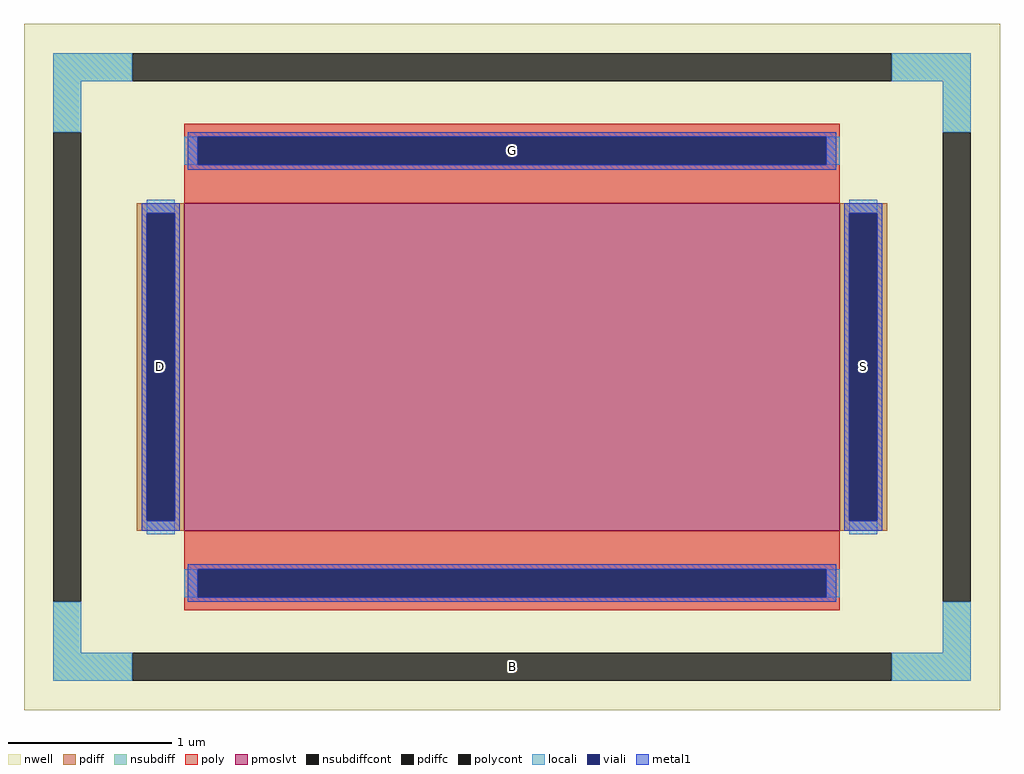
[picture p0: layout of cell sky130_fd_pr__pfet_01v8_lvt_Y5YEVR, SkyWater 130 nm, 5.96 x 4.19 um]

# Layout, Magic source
magic
tech sky130A
magscale 1 2
<< nwell >>
rect -596 -419 596 419
<< pmoslvt >>
rect -400 -200 400 200
<< pdiff >>
rect -458 188 -400 200
rect -458 -188 -446 188
rect -412 -188 -400 188
rect -458 -200 -400 -188
rect 400 188 458 200
rect 400 -188 412 188
rect 446 -188 458 188
rect 400 -200 458 -188
<< pdiffc >>
rect -446 -188 -412 188
rect 412 -188 446 188
<< nsubdiff >>
rect -560 349 -464 383
rect 464 349 560 383
rect -560 287 -526 349
rect 526 287 560 349
rect -560 -349 -526 -287
rect 526 -349 560 -287
rect -560 -383 -464 -349
rect 464 -383 560 -349
<< nsubdiffcont >>
rect -464 349 464 383
rect -560 -287 -526 287
rect 526 -287 560 287
rect -464 -383 464 -349
<< poly >>
rect -400 281 400 297
rect -400 247 -384 281
rect 384 247 400 281
rect -400 200 400 247
rect -400 -247 400 -200
rect -400 -281 -384 -247
rect 384 -281 400 -247
rect -400 -297 400 -281
<< polycont >>
rect -384 247 384 281
rect -384 -281 384 -247
<< locali >>
rect -560 349 -464 383
rect 464 349 560 383
rect -560 287 -526 349
rect 526 287 560 349
rect -400 247 -384 281
rect 384 247 400 281
rect -446 188 -412 204
rect -446 -204 -412 -188
rect 412 188 446 204
rect 412 -204 446 -188
rect -400 -281 -384 -247
rect 384 -281 400 -247
rect -560 -349 -526 -287
rect 526 -349 560 -287
rect -560 -383 -464 -349
rect 464 -383 560 -349
<< viali >>
rect -384 247 384 281
rect -446 -188 -412 188
rect 412 -188 446 188
rect -384 -281 384 -247
<< metal1 >>
rect -396 281 396 287
rect -396 247 -384 281
rect 384 247 396 281
rect -396 241 396 247
rect -452 188 -406 200
rect -452 -188 -446 188
rect -412 -188 -406 188
rect -452 -200 -406 -188
rect 406 188 452 200
rect 406 -188 412 188
rect 446 -188 452 188
rect 406 -200 452 -188
rect -396 -247 396 -241
rect -396 -281 -384 -247
rect 384 -281 396 -247
rect -396 -287 396 -281
<< labels >>
rlabel nsubdiffcont 0 -366 0 -366 0 B
port 21 nsew
rlabel pdiffc -429 0 -429 0 0 D
port 22 nsew
rlabel pdiffc 429 0 429 0 0 S
port 23 nsew
rlabel polycont 0 264 0 264 0 G
port 24 nsew
<< properties >>
string FIXED_BBOX -543 -366 543 366
string gencell sky130_fd_pr__pfet_01v8_lvt
string library sky130
string parameters w 2.0 l 4.0 m 1 nf 1 diffcov 100 polycov 100 guard 1 glc 1 grc 1 gtc 1 gbc 1 tbcov 100 rlcov 100 topc 1 botc 1 poverlap 0 doverlap 1 lmin 0.35 wmin 0.42 class mosfet compatible {sky130_fd_pr__pfet_01v8  sky130_fd_pr__pfet_01v8_lvt sky130_fd_pr__pfet_01v8_hvt  sky130_fd_pr__pfet_g5v0d10v5} full_metal 1 conn_gates 0 viasrc 100 viadrn 100 viagate 100 viagb 0 viagr 0 viagl 0 viagt 0 doports 1
<< end >>
